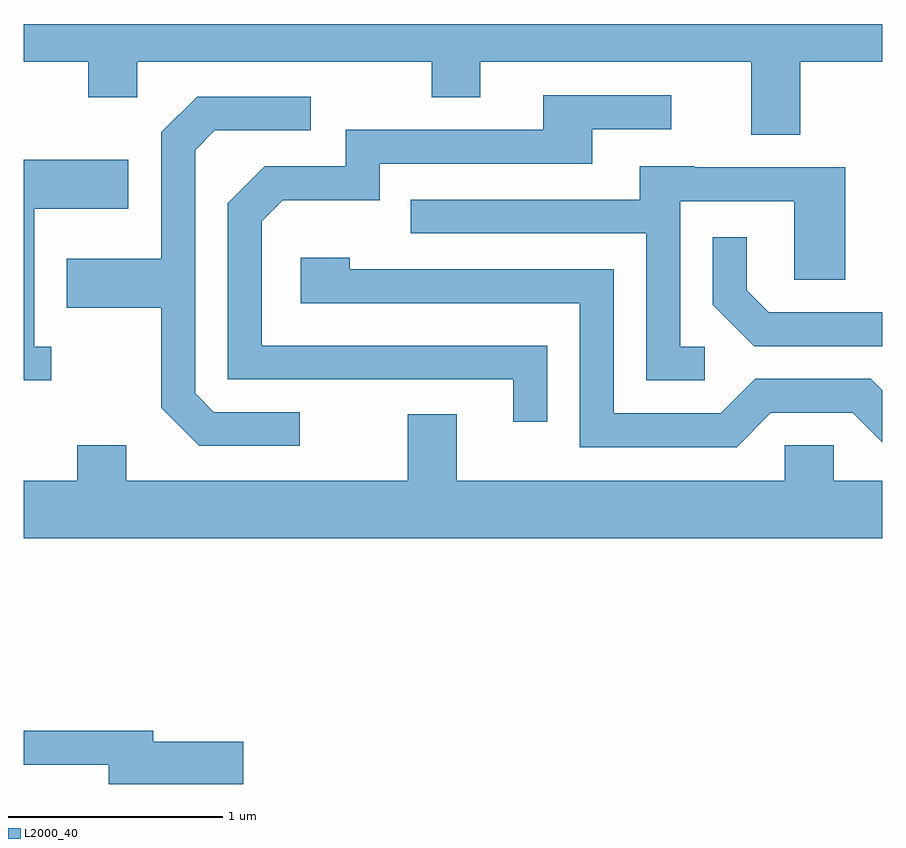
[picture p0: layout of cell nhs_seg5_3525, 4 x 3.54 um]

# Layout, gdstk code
import gdstk
lib = gdstk.Library(unit=1e-6, precision=1e-09)
def P(c, l, *ps):  # polygons
    for p in ps: c.add(gdstk.Polygon(p, *l))
L2000_40 = (2000, 40)

nhs_seg5_3525 = lib.new_cell('nhs_seg5_3525')
P(nhs_seg5_3525, L2000_40, [(293.229,1467.896),(293.611,1467.896),(293.611,1468.072),(289.611,1468.072),(289.611,1467.896),(289.911,1467.896),(289.911,1467.731),(290.139,1467.731),(290.139,1467.896),(291.511,1467.896),(291.511,1467.731),(291.739,1467.731),(291.739,1467.896),(293.001,1467.896),(293.001,1467.556),(293.229,1467.556)],
  [(292.049,1466.574),(290.719,1466.574),(290.719,1467.154),(290.817,1467.251),(291.269,1467.251),(291.269,1467.421),(292.259,1467.421),(292.259,1467.581),(292.628,1467.581),(292.628,1467.739),(292.031,1467.739),(292.031,1467.579),(291.111,1467.579),(291.111,1467.409),(290.734,1467.409),(290.561,1467.237),(290.561,1466.416),(291.891,1466.416),(291.891,1466.218),(292.049,1466.218)],
  [(290.898,1466.264),(290.497,1466.264),(290.409,1466.352),(290.409,1467.484),(290.502,1467.576),(290.948,1467.576),(290.948,1467.734),(290.419,1467.734),(290.251,1467.567),(290.251,1466.979),(289.811,1466.979),(289.811,1466.751),(290.251,1466.751),(290.251,1466.284),(290.429,1466.106),(290.898,1466.106)],
  [(289.738,1466.569),(289.659,1466.569),(289.659,1467.211),(290.099,1467.211),(290.099,1467.439),(289.611,1467.439),(289.611,1466.411),(289.738,1466.411)],
  [(292.783,1466.569),(292.669,1466.569),(292.669,1467.246),(293.201,1467.246),(293.201,1466.881),(293.439,1466.881),(293.439,1467.404),(292.735,1467.404),(292.735,1467.409),(292.481,1467.409),(292.481,1467.254),(291.413,1467.254),(291.413,1467.096),(292.511,1467.096),(292.511,1466.411),(292.783,1466.411)],
  [(293.611,1466.729),(293.082,1466.729),(292.979,1466.832),(292.979,1467.078),(292.821,1467.078),(292.821,1466.764),(293.014,1466.571),(293.611,1466.571)],
  [(293.092,1466.261),(293.474,1466.261),(293.611,1466.124),(293.611,1466.365),(293.557,1466.419),(293.019,1466.419),(292.859,1466.259),(292.359,1466.259),(292.359,1466.929),(291.129,1466.929),(291.129,1466.984),(290.901,1466.984),(290.901,1466.771),(292.201,1466.771),(292.201,1466.101),(292.932,1466.101)],
  [(293.611,1465.944),(293.384,1465.944),(293.384,1466.109),(293.156,1466.109),(293.156,1465.944),(291.629,1465.944),(291.629,1466.254),(291.401,1466.254),(291.401,1465.944),(290.089,1465.944),(290.089,1466.109),(289.861,1466.109),(289.861,1465.944),(289.611,1465.944),(289.611,1465.676),(293.611,1465.676)],
  [(290.634,1464.729),(290.214,1464.729),(290.214,1464.779),(289.611,1464.779),(289.611,1464.621),(290.006,1464.621),(290.006,1464.531),(290.634,1464.531)])

lib.write_gds('nhs_seg5_3525.gds')
